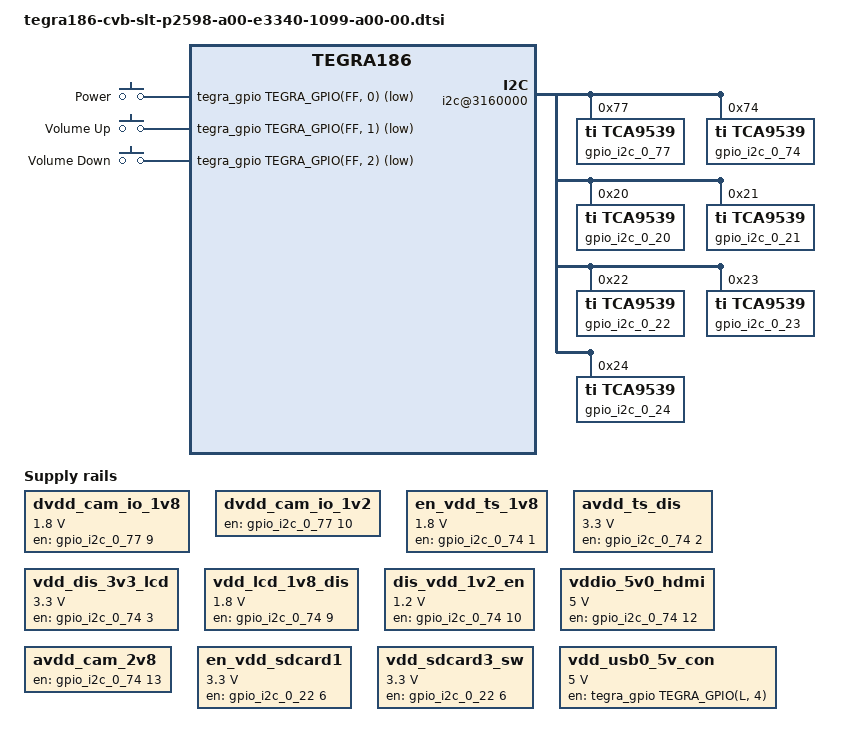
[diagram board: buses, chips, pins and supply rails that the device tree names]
/*
 * tegra186-cvb-slt-p2598-a00-e3340-1099-a00-00.dtsi
 *
 * Copyright (c) 2015, NVIDIA CORPORATION.  All rights reserved.
 *
 * This program is free software; you can redistribute it and/or modify
 * it under the terms of the GNU General Public License as published by
 * the Free Software Foundation; version 2 of the License.
 *
 * This program is distributed in the hope that it will be useful, but WITHOUT
 * ANY WARRANTY; without even the implied warranty of MERCHANTABILITY or
 * FITNESS FOR A PARTICULAR PURPOSE.  See the GNU General Public License for
 * more details.
 */

#include <dt-bindings/gpio/tegra-gpio.h>
#include <dt-bindings/input/input.h>

/ {
	i2c@3160000 {

		gpio_i2c_0_77: gpio@77 {
			compatible = "ti,tca9539";
			reg = <0x77>;
			gpio-controller;
			#gpio-cells = <2>;
		};

		gpio_i2c_0_74: gpio@74 {
			compatible = "ti,tca9539";
			reg = <0x74>;
			gpio-controller;
			#gpio-cells = <2>;
		};

		gpio_i2c_0_20: gpio@20 {
			compatible = "ti,tca9539";
			reg = <0x20>;
			gpio-controller;
			#gpio-cells = <2>;
		};

		gpio_i2c_0_21: gpio@21 {
			compatible = "ti,tca9539";
			reg = <0x21>;
			gpio-controller;
			#gpio-cells = <2>;
		};

		gpio_i2c_0_22: gpio@22 {
			compatible = "ti,tca9539";
			reg = <0x22>;
			gpio-controller;
			#gpio-cells = <2>;
		};

		gpio_i2c_0_23: gpio@23 {
			compatible = "ti,tca9539";
			reg = <0x23>;
			gpio-controller;
			#gpio-cells = <2>;
		};

		gpio_i2c_0_24: gpio@24 {
			compatible = "ti,tca9539";
			reg = <0x24>;
			gpio-controller;
			#gpio-cells = <2>;
		};
	};

	fixed-regulators {
		dvdd_cam_io_1v8: regulator@101 {
			compatible = "regulator-fixed-sync";
			reg = <101>;
			regulator-name = "dvdd-cam-io-1v8";
			regulator-min-microvolt = <1800000>;
			regulator-max-microvolt = <1800000>;
			gpio = <&gpio_i2c_0_77 9 0>;
			enable-active-high;
		};

		dvdd_cam_io_1v2: regulator@102 {
			compatible = "regulator-fixed-sync";
			reg = <102>;
			regulator-name = "dvdd-cam-io-1v2";
			regulator-min-microvol = <1200000>;
			regulator-max-microvol = <1200000>;
			gpio = <&gpio_i2c_0_77 10 0>;
			enable-active-high;
		};

		en_vdd_ts_1v8: regulator@103 {
			compatible = "regulator-fixed-sync";
			reg = <103>;
			regulator-name = "en-vdd-ts-1v8";
			regulator-min-microvolt = <1800000>;
			regulator-max-microvolt = <1800000>;
			gpio = <&gpio_i2c_0_74 1 0>;
			enable-active-high;
		};

		avdd_ts_dis: regulator@104 {
			compatible = "regulator-fixed-sync";
			reg = <104>;
			regulator-name = "avdd-ts-dis";
			regulator-min-microvolt = <3300000>;
			regulator-max-microvolt = <3300000>;
			gpio = <&gpio_i2c_0_74 2 0>;
			enable-active-high;
		};

		vdd_dis_3v3_lcd: regulator@105 {
			compatible = "regulator-fixed-sync";
			reg = <105>;
			regulator-name = "vdd-dis-3v3-lcd";
			regulator-min-microvolt = <3300000>;
			regulator-max-microvolt = <3300000>;
			gpio = <&gpio_i2c_0_74 3 0>;
			enable-active-high;
		};

		vdd_lcd_1v8_dis: regulator@106 {
			compatible = "regulator-fixed-sync";
			reg = <106>;
			regulator-name = "vdd-lcd-1v8-dis";
			regulator-min-microvolt = <1800000>;
			regulator-max-microvolt = <1800000>;
			gpio = <&gpio_i2c_0_74 9 0>;
			enable-active-high;
		};

		dis_vdd_1v2_en: regulator@107 {
			compatible = "regulator-fixed-sync";
			reg = <107>;
			regulator-name = "dis-vdd-1v2-en";
			regulator-min-microvolt = <1200000>;
			regulator-max-microvolt = <1200000>;
			gpio = <&gpio_i2c_0_74 10 0>;
			enable-active-high;
		};

		vddio_5v0_hdmi: regulator@108 {
			compatible = "regulator-fixed-sync";
			reg = <108>;
			regulator-name = "vddio-5v0-hdmi";
			regulator-min-microvolt = <5000000>;
			regulator-max-microvolt = <5000000>;
			gpio = <&gpio_i2c_0_74 12 0>;
			enable-active-high;
		};

		avdd_cam_2v8: regulator@109 {
			compatible = "regulator-fixed-sync";
			reg = <109>;
			regulator-name = "avdd-cam-2v8";
			regulator-min-microvol = <2800000>;
			regulator-max-microvol = <2800000>;
			gpio = <&gpio_i2c_0_74 13 0>;
			enable-active-high;
		};

		en_vdd_sdcard1: regulator@110 {
			compatible = "regulator-fixed-sync";
			reg = <110>;
			regulator-name = "vdd-sdcard1-sw";
			regulator-min-microvolt = <3300000>;
			regulator-max-microvolt = <3300000>;
			gpio = <&gpio_i2c_0_22 6 0>;
			enable-active-high;
		};

		vdd_sdcard3_sw: regulator@111 {
			compatible = "regulator-fixed-sync";
			reg = <111>;
			regulator-name = "vdd-sdcard3-sw";
			regulator-min-microvolt = <3300000>;
			regulator-max-microvolt = <3300000>;
			gpio = <&gpio_i2c_0_22 6 0>;
			enable-active-high;
		};

		vdd_usb0_5v_con: regulator@112 {
			compatible = "regulator-fixed";
			reg = <112>;
			regulator-name = "vdd-usb0-5v-con";
			regulator-min-microvolt = <5000000>;
			regulator-max-microvolt = <5000000>;
			gpio = <&tegra_gpio TEGRA_GPIO(L, 4) 0>;
			enable-active-high;
		};
	};

	gpio-keys {
		compatible = "gpio-keys";
		gpio-keys,name = "gpio-keys";

		power {
			label = "Power";
			gpios = <&tegra_gpio TEGRA_GPIO(FF, 0) GPIO_ACTIVE_LOW>;
			linux,code = <KEY_POWER>;
			gpio-key,wakeup;
		};

		volume_up {
			label = "Volume Up";
			gpios = <&tegra_gpio TEGRA_GPIO(FF, 1) GPIO_ACTIVE_LOW>;
			linux,code = <KEY_VOLUMEUP>;
		};

		volume_down {
			label = "Volume Down";
			gpios = <&tegra_gpio TEGRA_GPIO(FF, 2) GPIO_ACTIVE_LOW>;
			linux,code = <KEY_VOLUMEDOWN>;
		};
	};
};
